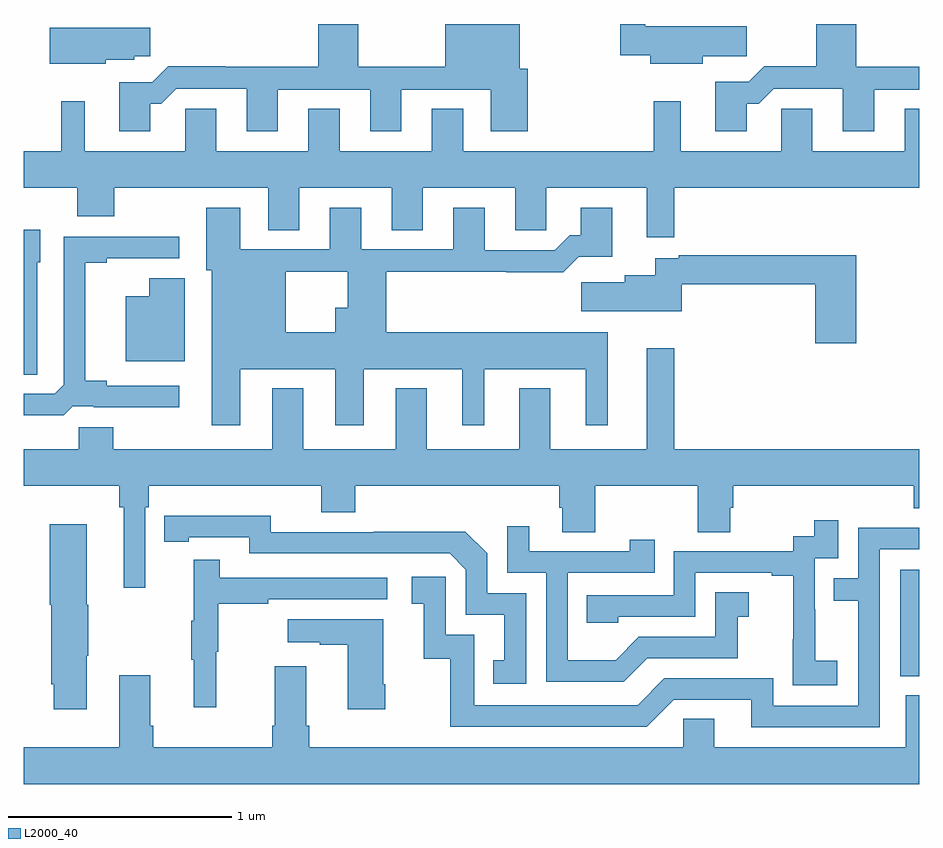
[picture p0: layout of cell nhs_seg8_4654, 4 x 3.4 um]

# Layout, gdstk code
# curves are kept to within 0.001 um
import gdstk
lib = gdstk.Library(unit=1e-6, precision=1e-09)
def R(c, l, rs):  # rectangles x0, y0, x1, y1
    for r in rs: c.add(gdstk.rectangle(r[:2], r[2:], *l))
def P(c, l, *ps):  # polygons
    for p in ps: c.add(gdstk.Polygon(p, *l))
L2000_40 = (2000, 40)

nhs_seg8_4654 = lib.new_cell('nhs_seg8_4654')
R(nhs_seg8_4654, L2000_40, [(396.915,1112.985,397,1113.462)])
P(nhs_seg8_4654, L2000_40, [(396.034,1115.755),(396.229,1115.755),(396.229,1115.89),(395.776,1115.89),(395.776,1115.9),(395.664,1115.9),(395.664,1115.761),(395.798,1115.761),(395.798,1115.723),(396.034,1115.723)],
  [(396.229,1115.543),(396.284,1115.543),(396.351,1115.61),(396.659,1115.61),(396.659,1115.421),(396.799,1115.421),(396.799,1115.607),(397,1115.607),(397,1115.708),(396.719,1115.708),(396.719,1115.9),(396.541,1115.9),(396.541,1115.711),(396.308,1115.711),(396.238,1115.641),(396.089,1115.641),(396.089,1115.421),(396.229,1115.421)],
  [(393.565,1115.543),(393.614,1115.543),(393.681,1115.61),(393.995,1115.61),(393.995,1115.421),(394.135,1115.421),(394.135,1115.607),(394.547,1115.607),(394.547,1115.421),(394.687,1115.421),(394.687,1115.607),(395.087,1115.607),(395.087,1115.421),(395.252,1115.421),(395.252,1115.7),(395.215,1115.7),(395.215,1115.9),(394.883,1115.9),(394.883,1115.708),(394.494,1115.708),(394.494,1115.9),(394.316,1115.9),(394.316,1115.708),(393.899,1115.708),(393.899,1115.711),(393.644,1115.711),(393.573,1115.64),(393.425,1115.64),(393.425,1115.421),(393.565,1115.421)],
  [(393.366,1115.741),(393.492,1115.741),(393.492,1115.755),(393.565,1115.755),(393.565,1115.884),(393.116,1115.884),(393.116,1115.723),(393.366,1115.723)],
  [(395.905,1115.168),(397,1115.168),(397,1115.522),(396.935,1115.522),(396.935,1115.332),(396.523,1115.332),(396.523,1115.522),(396.384,1115.522),(396.384,1115.332),(395.935,1115.332),(395.935,1115.554),(395.814,1115.554),(395.814,1115.332),(394.963,1115.332),(394.963,1115.522),(394.823,1115.522),(394.823,1115.332),(394.411,1115.332),(394.411,1115.522),(394.271,1115.522),(394.271,1115.332),(393.859,1115.332),(393.859,1115.522),(393.72,1115.522),(393.72,1115.332),(393.271,1115.332),(393.271,1115.554),(393.167,1115.554),(393.167,1115.332),(393,1115.332),(393,1115.168),(393.239,1115.168),(393.239,1115.04),(393.403,1115.04),(393.403,1115.168),(394.091,1115.168),(394.091,1114.978),(394.231,1114.978),(394.231,1115.168),(394.643,1115.168),(394.643,1114.978),(394.783,1114.978),(394.783,1115.168),(395.195,1115.168),(395.195,1114.978),(395.334,1114.978),(395.334,1115.168),(395.783,1115.168),(395.783,1114.947),(395.905,1114.947)],
  [(393.967,1114.107),(393.967,1114.358),(394.391,1114.358),(394.391,1114.107),(394.519,1114.107),(394.519,1114.358),(394.958,1114.358),(394.958,1114.107),(395.056,1114.107),(395.056,1114.358),(395.51,1114.358),(395.51,1114.107),(395.608,1114.107),(395.608,1114.522),(394.619,1114.522),(394.619,1114.792),(395.155,1114.792),(395.155,1114.79),(395.411,1114.79),(395.48,1114.859),(395.629,1114.859),(395.629,1115.08),(395.489,1115.08),(395.489,1114.957),(395.44,1114.957),(395.373,1114.89),(395.059,1114.89),(395.059,1115.08),(394.919,1115.08),(394.919,1114.893),(394.507,1114.893),(394.507,1115.08),(394.367,1115.08),(394.367,1114.893),(393.967,1114.893),(393.967,1115.08),(393.815,1115.08),(393.815,1114.8),(393.839,1114.8),(393.839,1114.522),(394.171,1114.522),(394.171,1114.792),(394.448,1114.792),(394.448,1114.633),(394.391,1114.633),(394.391,1114.522),(393.839,1114.522),(393.839,1114.107)],
  [(393.06,1114.836),(393.073,1114.836),(393.073,1114.981),(393,1114.981),(393,1114.333),(393.06,1114.333)],
  [(393.219,1114.191),(393.313,1114.191),(393.313,1114.187),(393.694,1114.187),(393.694,1114.284),(393.37,1114.284),(393.37,1114.307),(393.275,1114.307),(393.275,1114.834),(393.37,1114.834),(393.37,1114.854),(393.694,1114.854),(393.694,1114.95),(393.177,1114.95),(393.177,1114.287),(393.138,1114.248),(393,1114.248),(393,1114.152),(393.179,1114.152)],
  [(396.719,1114.867),(395.926,1114.867),(395.926,1114.854),(395.822,1114.854),(395.822,1114.777),(395.684,1114.777),(395.684,1114.745),(395.49,1114.745),(395.49,1114.616),(395.939,1114.616),(395.939,1114.738),(396.536,1114.738),(396.536,1114.473),(396.719,1114.473)],
  [(393.718,1114.765),(393.56,1114.765),(393.56,1114.684),(393.455,1114.684),(393.455,1114.394),(393.718,1114.394)],
  [(395.393,1113.738),(395.405,1113.738),(395.405,1113.628),(395.553,1113.628),(395.553,1113.836),(396.01,1113.836),(396.01,1113.628),(396.157,1113.628),(396.157,1113.738),(396.17,1113.738),(396.17,1113.836),(396.977,1113.836),(396.977,1113.737),(397,1113.737),(397,1114),(395.905,1114),(395.905,1114.45),(395.783,1114.45),(395.783,1114),(395.353,1114),(395.353,1114.273),(395.213,1114.273),(395.213,1114),(394.801,1114),(394.801,1114.273),(394.661,1114.273),(394.661,1114),(394.249,1114),(394.249,1114.273),(394.109,1114.273),(394.109,1114),(393.399,1114),(393.399,1114.098),(393.244,1114.098),(393.244,1114),(393,1114),(393,1113.836),(393.427,1113.836),(393.427,1113.74),(393.446,1113.74),(393.446,1113.381),(393.543,1113.381),(393.543,1113.74),(393.557,1113.74),(393.557,1113.836),(394.328,1113.836),(394.328,1113.719),(394.481,1113.719),(394.481,1113.836),(395.393,1113.836)],
  [(395.244,1113.357),(395.07,1113.357),(395.07,1113.534),(394.972,1113.632),(394.564,1113.632),(394.564,1113.63),(394.104,1113.63),(394.104,1113.703),(393.628,1113.702),(393.628,1113.586),(393.736,1113.586),(393.736,1113.606),(394.008,1113.606),(394.008,1113.534),(394.902,1113.534),(394.974,1113.462),(394.974,1113.261),(395.147,1113.261),(395.147,1113.057),(395.098,1113.057),(395.098,1112.952),(395.244,1112.952)],
  [(396.634,1113.055),(396.536,1113.055),(396.536,1113.284),(396.534,1113.284),(396.534,1113.513),(396.639,1113.513),(396.639,1113.682),(396.531,1113.682),(396.531,1113.612),(396.438,1113.612),(396.438,1113.543),(395.904,1113.543),(395.904,1113.348),(395.515,1113.348),(395.515,1113.225),(395.655,1113.225),(395.655,1113.252),(396,1113.252),(396,1113.447),(396.341,1113.447),(396.341,1113.435),(396.437,1113.435),(396.437,1113.151),(396.436,1113.151),(396.436,1112.945),(396.634,1112.945)],
  [(393.28,1113.076),(393.288,1113.076),(393.288,1113.306),(393.28,1113.306),(393.28,1113.664),(393.116,1113.664),(393.116,1113.306),(393.122,1113.306),(393.122,1112.95),(393.134,1112.95),(393.134,1112.838),(393.28,1112.838)],
  [(395.785,1113.066),(396.189,1113.066),(396.189,1113.251),(396.238,1113.251),(396.238,1113.361),(396.09,1113.361),(396.09,1113.162),(395.748,1113.162),(395.644,1113.058),(395.43,1113.058),(395.43,1113.447),(395.819,1113.447),(395.819,1113.595),(395.708,1113.595),(395.708,1113.543),(395.257,1113.543),(395.257,1113.655),(395.16,1113.655),(395.16,1113.447),(395.334,1113.447),(395.334,1112.961),(395.68,1112.961)],
  [(396.825,1113.552),(397,1113.552),(397,1113.648),(396.729,1113.648),(396.729,1113.423),(396.619,1113.423),(396.619,1113.322),(396.729,1113.322),(396.729,1112.853),(396.348,1112.853),(396.348,1112.976),(395.862,1112.976),(395.742,1112.856),(395.013,1112.856),(395.013,1113.171),(394.884,1113.171),(394.884,1113.43),(394.734,1113.43),(394.734,1113.309),(394.787,1113.309),(394.787,1113.063),(394.905,1113.063),(394.905,1112.76),(395.784,1112.76),(395.904,1112.88),(396.251,1112.88),(396.251,1112.757),(396.825,1112.757)],
  [(393.86,1113.096),(393.868,1113.096),(393.868,1113.31),(394.091,1113.31),(394.091,1113.33),(394.624,1113.33),(394.624,1113.426),(393.875,1113.426),(393.875,1113.505),(393.758,1113.505),(393.758,1113.233),(393.747,1113.233),(393.747,1113.059),(393.758,1113.059),(393.758,1112.847),(393.86,1112.847)],
  [(394.614,1112.95),(394.606,1112.95),(394.606,1113.241),(394.179,1113.241),(394.179,1113.137),(394.322,1113.137),(394.322,1113.127),(394.448,1113.127),(394.448,1112.838),(394.614,1112.838)],
  [(397,1112.9),(396.941,1112.9),(396.941,1112.668),(396.085,1112.668),(396.085,1112.795),(395.946,1112.795),(395.946,1112.668),(394.274,1112.668),(394.274,1112.764),(394.261,1112.764),(394.261,1113.031),(394.121,1113.031),(394.121,1112.764),(394.109,1112.764),(394.109,1112.668),(393.578,1112.668),(393.578,1112.764),(393.565,1112.764),(393.565,1112.989),(393.425,1112.989),(393.425,1112.668),(393,1112.668),(393,1112.504),(397,1112.504)])

lib.write_gds('nhs_seg8_4654.gds')
